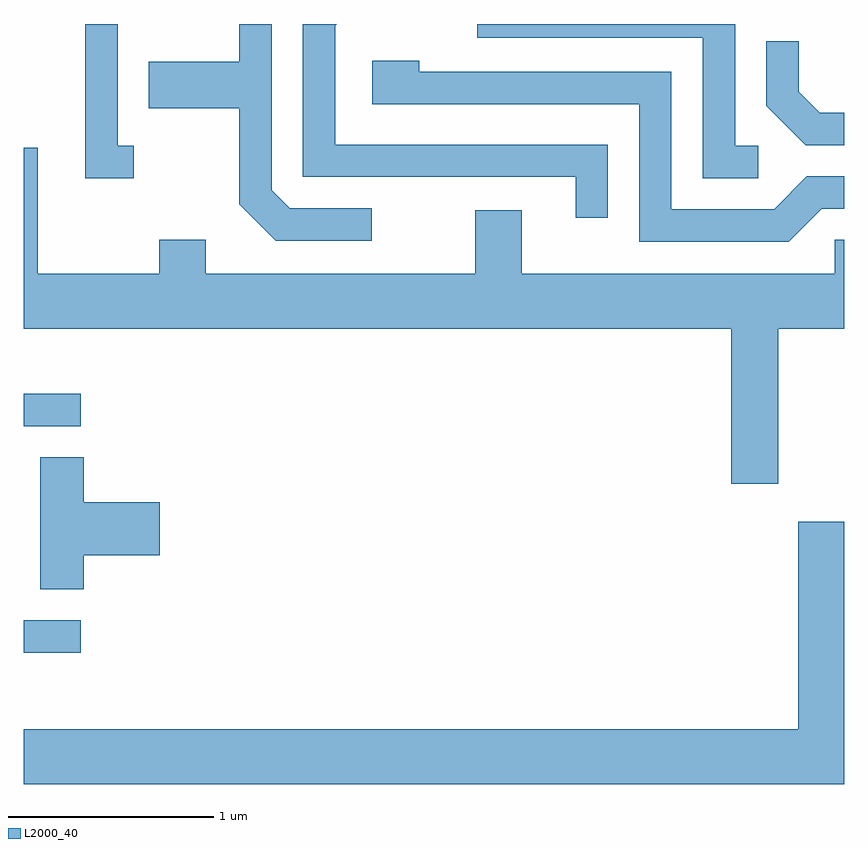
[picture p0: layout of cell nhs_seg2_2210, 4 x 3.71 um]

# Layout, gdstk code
import gdstk
lib = gdstk.Library(unit=1e-6, precision=1e-09)
def R(c, l, rs):  # rectangles x0, y0, x1, y1
    for r in rs: c.add(gdstk.rectangle(r[:2], r[2:], *l))
def P(c, l, *ps):  # polygons
    for p in ps: c.add(gdstk.Polygon(p, *l))
L2000_40 = (2000, 40)

nhs_seg2_2210 = lib.new_cell('nhs_seg2_2210')
R(nhs_seg2_2210, L2000_40, [(249.611,1046.736,249.888,1046.894), (249.611,1047.841,249.888,1047.999)])
P(nhs_seg2_2210, L2000_40, [(250.148,1049.209),(250.069,1049.209),(250.069,1049.802),(249.911,1049.802),(249.911,1049.051),(250.148,1049.051)],
  [(252.459,1049.214),(251.129,1049.214),(251.129,1049.794),(251.137,1049.802),(250.971,1049.802),(250.971,1049.056),(252.301,1049.056),(252.301,1048.858),(252.459,1048.858)],
  [(253.193,1049.209),(253.079,1049.209),(253.079,1049.802),(251.823,1049.802),(251.823,1049.736),(252.921,1049.736),(252.921,1049.051),(253.193,1049.051)],
  [(251.308,1048.904),(250.907,1048.904),(250.819,1048.992),(250.819,1049.802),(250.661,1049.802),(250.661,1049.619),(250.221,1049.619),(250.221,1049.391),(250.661,1049.391),(250.661,1048.924),(250.839,1048.746),(251.308,1048.746)],
  [(253.611,1049.369),(253.492,1049.369),(253.389,1049.472),(253.389,1049.718),(253.231,1049.718),(253.231,1049.404),(253.424,1049.211),(253.611,1049.211)],
  [(253.502,1048.901),(253.611,1048.901),(253.611,1049.059),(253.429,1049.059),(253.269,1048.899),(252.769,1048.899),(252.769,1049.569),(251.539,1049.569),(251.539,1049.624),(251.311,1049.624),(251.311,1049.411),(252.611,1049.411),(252.611,1048.741),(253.342,1048.741)],
  [(253.289,1048.316),(253.611,1048.316),(253.611,1048.749),(253.566,1048.749),(253.566,1048.584),(252.039,1048.584),(252.039,1048.894),(251.811,1048.894),(251.811,1048.584),(250.499,1048.584),(250.499,1048.749),(250.271,1048.749),(250.271,1048.584),(249.679,1048.584),(249.679,1049.199),(249.611,1049.199),(249.611,1048.316),(253.061,1048.316),(253.061,1047.561),(253.289,1047.561)],
  [(249.904,1047.211),(250.274,1047.211),(250.274,1047.469),(249.904,1047.469),(249.904,1047.689),(249.691,1047.689),(249.691,1047.046),(249.904,1047.046)],
  [(253.611,1047.374),(253.386,1047.374),(253.386,1046.364),(249.611,1046.364),(249.611,1046.096),(253.611,1046.096)])

lib.write_gds('nhs_seg2_2210.gds')
